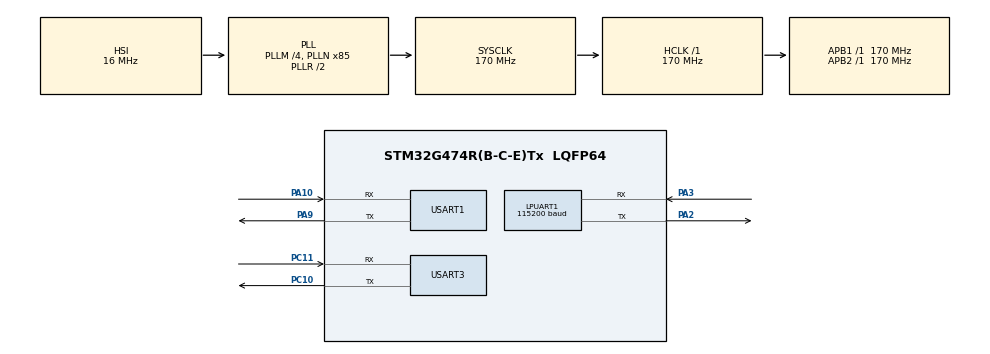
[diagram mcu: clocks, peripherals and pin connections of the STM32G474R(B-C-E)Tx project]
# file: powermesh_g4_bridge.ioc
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Dma.Request0=USART1_RX
Dma.Request1=USART1_TX
Dma.Request2=USART3_RX
Dma.Request3=USART3_TX
Dma.USART1_RX.0.Direction=DMA_PERIPH_TO_MEMORY
Dma.USART1_RX.0.EventEnable=DISABLE
Dma.USART1_RX.0.Instance=DMA1_Channel1
Dma.USART1_RX.0.MemDataAlignment=DMA_MDATAALIGN_BYTE
Dma.USART1_RX.0.MemInc=DMA_MINC_ENABLE
Dma.USART1_RX.0.Mode=DMA_CIRCULAR
Dma.USART1_RX.0.PeriphDataAlignment=DMA_PDATAALIGN_BYTE
Dma.USART1_RX.0.PeriphInc=DMA_PINC_DISABLE
Dma.USART1_RX.0.Polarity=HAL_DMAMUX_REQ_GEN_RISING
Dma.USART1_RX.0.Priority=DMA_PRIORITY_HIGH
Dma.USART1_RX.0.RequestNumber=1
Dma.USART1_RX.0.SignalID=NONE
Dma.USART1_RX.0.SyncEnable=DISABLE
Dma.USART1_RX.0.SyncPolarity=HAL_DMAMUX_SYNC_NO_EVENT
Dma.USART1_RX.0.SyncRequestNumber=1
Dma.USART1_RX.0.SyncSignalID=NONE
Dma.USART1_TX.1.Direction=DMA_MEMORY_TO_PERIPH
Dma.USART1_TX.1.EventEnable=DISABLE
Dma.USART1_TX.1.Instance=DMA1_Channel2
Dma.USART1_TX.1.MemDataAlignment=DMA_MDATAALIGN_BYTE
Dma.USART1_TX.1.MemInc=DMA_MINC_ENABLE
Dma.USART1_TX.1.Mode=DMA_NORMAL
Dma.USART1_TX.1.PeriphDataAlignment=DMA_PDATAALIGN_BYTE
Dma.USART1_TX.1.PeriphInc=DMA_PINC_DISABLE
Dma.USART1_TX.1.Polarity=HAL_DMAMUX_REQ_GEN_RISING
Dma.USART1_TX.1.Priority=DMA_PRIORITY_MEDIUM
Dma.USART1_TX.1.RequestNumber=1
Dma.USART1_TX.1.SignalID=NONE
Dma.USART1_TX.1.SyncEnable=DISABLE
Dma.USART1_TX.1.SyncPolarity=HAL_DMAMUX_SYNC_NO_EVENT
Dma.USART1_TX.1.SyncRequestNumber=1
Dma.USART1_TX.1.SyncSignalID=NONE
Dma.USART3_RX.2.Direction=DMA_PERIPH_TO_MEMORY
Dma.USART3_RX.2.EventEnable=DISABLE
Dma.USART3_RX.2.Instance=DMA1_Channel3
Dma.USART3_RX.2.MemDataAlignment=DMA_MDATAALIGN_BYTE
Dma.USART3_RX.2.MemInc=DMA_MINC_ENABLE
Dma.USART3_RX.2.Mode=DMA_CIRCULAR
Dma.USART3_RX.2.PeriphDataAlignment=DMA_PDATAALIGN_BYTE
Dma.USART3_RX.2.PeriphInc=DMA_PINC_DISABLE
Dma.USART3_RX.2.Polarity=HAL_DMAMUX_REQ_GEN_RISING
Dma.USART3_RX.2.Priority=DMA_PRIORITY_HIGH
Dma.USART3_RX.2.RequestNumber=1
Dma.USART3_RX.2.SignalID=NONE
Dma.USART3_RX.2.SyncEnable=DISABLE
Dma.USART3_RX.2.SyncPolarity=HAL_DMAMUX_SYNC_NO_EVENT
Dma.USART3_RX.2.SyncRequestNumber=1
Dma.USART3_RX.2.SyncSignalID=NONE
Dma.USART3_TX.3.Direction=DMA_MEMORY_TO_PERIPH
Dma.USART3_TX.3.EventEnable=DISABLE
Dma.USART3_TX.3.Instance=DMA1_Channel4
Dma.USART3_TX.3.MemDataAlignment=DMA_MDATAALIGN_BYTE
Dma.USART3_TX.3.MemInc=DMA_MINC_ENABLE
Dma.USART3_TX.3.Mode=DMA_NORMAL
Dma.USART3_TX.3.PeriphDataAlignment=DMA_PDATAALIGN_BYTE
Dma.USART3_TX.3.PeriphInc=DMA_PINC_DISABLE
Dma.USART3_TX.3.Polarity=HAL_DMAMUX_REQ_GEN_RISING
Dma.USART3_TX.3.Priority=DMA_PRIORITY_MEDIUM
Dma.USART3_TX.3.RequestNumber=1
Dma.USART3_TX.3.SignalID=NONE
Dma.USART3_TX.3.SyncEnable=DISABLE
Dma.USART3_TX.3.SyncPolarity=HAL_DMAMUX_SYNC_NO_EVENT
Dma.USART3_TX.3.SyncRequestNumber=1
Dma.USART3_TX.3.SyncSignalID=NONE
LPUART1.BaudRate=115200
Mcu.Family=STM32G4
Mcu.Name=STM32G474R(B-C-E)Tx
Mcu.Package=LQFP64
NUCLEO-G474RE.BUTTON=1
NUCLEO-G474RE.LD2=true
NUCLEO-G474RE.VCP=false
NVIC.DMA1_Channel1_IRQn=true\:5\:0\:true\:false\:true\:false\:true\:true
NVIC.DMA1_Channel2_IRQn=true\:5\:0\:true\:false\:true\:false\:true\:true
NVIC.DMA1_Channel3_IRQn=true\:5\:0\:true\:false\:true\:false\:true\:true
NVIC.DMA1_Channel4_IRQn=true\:5\:0\:true\:false\:true\:false\:true\:true
NVIC.EXTI15_10_IRQn=true\:0\:0\:false\:false\:true\:false\:true\:true
NVIC.PriorityGroup=NVIC_PRIORITYGROUP_4
NVIC.USART1_IRQn=true\:5\:0\:true\:false\:true\:true\:true\:true
NVIC.USART3_IRQn=true\:5\:0\:true\:false\:true\:true\:true\:true
PA10.Mode=Asynchronous
PA10.Signal=USART1_RX
PA13.GPIO_Label=T_SWDIO
PA13.Mode=Serial_Wire
PA13.Signal=SYS_JTMS-SWDIO
PA14.GPIO_Label=T_SWCLK
PA14.Mode=Serial_Wire
PA14.Signal=SYS_JTCK-SWCLK
PA2.Mode=Asynchronous
PA2.Signal=LPUART1_TX
PA3.Mode=Asynchronous
PA3.Signal=LPUART1_RX
PA9.Mode=Asynchronous
PA9.Signal=USART1_TX
PB3.GPIO_Label=T_SWO
PB3.Signal=SYS_JTDO-SWO
PC10.Mode=Asynchronous
PC10.Signal=USART3_TX
PC11.Mode=Asynchronous
PC11.Signal=USART3_RX
PC14-OSC32_IN.GPIO_Label=RCC_OSC32_IN
PC14-OSC32_IN.Signal=RCC_OSC32_IN
PC15-OSC32_OUT.GPIO_Label=RCC_OSC32_OUT
PC15-OSC32_OUT.Signal=RCC_OSC32_OUT
PF0-OSC_IN.GPIO_Label=RCC_OSC_IN
PF0-OSC_IN.Signal=RCC_OSC_IN
PF1-OSC_OUT.GPIO_Label=RCC_OSC_OUT
PF1-OSC_OUT.Signal=RCC_OSC_OUT
ProjectManager.HeapSize=0x200
ProjectManager.StackSize=0x400
ProjectManager.TargetToolchain=CMake
RCC.ADC12Freq_Value=170000000
RCC.ADC345Freq_Value=170000000
RCC.AHBFreq_Value=170000000
RCC.APB1Freq_Value=170000000
RCC.APB1TimFreq_Value=170000000
RCC.APB2Freq_Value=170000000
RCC.APB2TimFreq_Value=170000000
RCC.CortexFreq_Value=170000000
RCC.EXTERNAL_CLOCK_VALUE=12288000
RCC.HCLKFreq_Value=170000000
RCC.HSE_VALUE=24000000
RCC.HSI48_VALUE=48000000
RCC.HSI_VALUE=16000000
RCC.LSE_VALUE=32768
RCC.PLLM=RCC_PLLM_DIV4
RCC.PLLN=85
RCC.RTCClockSelection=RCC_RTCCLKSOURCE_LSE
RCC.SYSCLKFreq_VALUE=170000000
RCC.SYSCLKSource=RCC_SYSCLKSOURCE_PLLCLK
RCC.USBFreq_Value=170000000
RCC.VCOOutputFreq_Value=340000000
USART1.VirtualMode-Asynchronous=VM_ASYNC
USART3.VirtualMode-Asynchronous=VM_ASYNC
VP_NUCLEO-G474RE_VS_BSP_COMMON.Mode=COMMON
VP_SYS_VS_DBSignals.Mode=DisableDeadBatterySignals
board=NUCLEO-G474RE

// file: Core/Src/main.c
/* USER CODE BEGIN Header */
/**
  ******************************************************************************
  * @file           : main.c
  * @brief          : Main program body
  ******************************************************************************
  * @attention
  *
  * Copyright (c) 2026 STMicroelectronics.
  * All rights reserved.
  *
  * This software is licensed under terms that can be found in the LICENSE file
  * in the root directory of this software component.
  * If no LICENSE file comes with this software, it is provided AS-IS.
  *
  ******************************************************************************
  */
/* USER CODE END Header */
#include "main.h"

/* USER CODE BEGIN Includes */
#include "powermesh_board.h"
#include "uart_transport.h"
#include "packet_router.h"
/* USER CODE END Includes */

UART_HandleTypeDef hlpuart1;
UART_HandleTypeDef huart1;
UART_HandleTypeDef huart3;
DMA_HandleTypeDef hdma_usart1_rx;
DMA_HandleTypeDef hdma_usart1_tx;
DMA_HandleTypeDef hdma_usart3_rx;
DMA_HandleTypeDef hdma_usart3_tx;

/* USER CODE BEGIN PV */
static uart_transport_t link_transport;
static uart_transport_t esp32_transport;
static packet_router_t router;

static packet_port_t link_port = PACKET_PORT_GATEWAY;
static packet_port_t esp32_port = PACKET_PORT_REMOTE;

static uint32_t last_blink_ms = 0U;
/* USER CODE END PV */

void SystemClock_Config(void);
static void MX_GPIO_Init(void);
static void MX_DMA_Init(void);
static void MX_USART1_UART_Init(void);
static void MX_USART3_UART_Init(void);
static void MX_LPUART1_UART_Init(void);

/* USER CODE BEGIN 0 */

// Adapt the shared router interface to the G4 HAL UART transport.
static bool send_uart_frame(
    void *context,
    uint8_t type,
    uint16_t sequence,
    const uint8_t *payload,
    uint16_t length
)
{
    uart_transport_t *transport = (uart_transport_t *)context;

    return uart_transport_send(
        transport,
        type,
        sequence,
        payload,
        length
    ) == HAL_OK;
}

// Receive complete, CRC-validated frames from either UART.
static void on_uart_frame(const uart_frame_t *frame, void *context)
{
    if (frame == NULL || context == NULL)
    {
        return;
    }

    packet_port_t source = *(packet_port_t *)context;

    (void)packet_router_receive(
        &router,
        source,
        frame
    );
}
/* USER CODE END 0 */

int main(void)
{

  /* MCU Configuration--------------------------------------------------------*/

  /* Reset of all peripherals, Initializes the Flash interface and the Systick. */
  HAL_Init();

  /* Configure the system clock */
  SystemClock_Config();

  /* Initialize all configured peripherals */
  MX_GPIO_Init();
  MX_DMA_Init();
  MX_USART1_UART_Init();
  MX_USART3_UART_Init();
  MX_LPUART1_UART_Init();
  /* USER CODE BEGIN 2 */

  // Confirm DMA is configured for both UARTs.
  if (POWERMESH_LINK_UART->hdmarx == NULL ||
      POWERMESH_LINK_UART->hdmatx == NULL ||
      POWERMESH_ESP32_UART->hdmarx == NULL ||
      POWERMESH_ESP32_UART->hdmatx == NULL)
  {
      Error_Handler();
  }

  // Connect the shared router to the two G4 UART transports.
  if (!packet_router_init(
          &router,
          send_uart_frame,
          &link_transport,
          send_uart_frame,
          &esp32_transport))
  {
      Error_Handler();
  }

  // Start F4 link reception on USART3.
  if (uart_transport_start(
          &link_transport,
          POWERMESH_LINK_UART,
          on_uart_frame,
          &link_port) != HAL_OK)
  {
      Error_Handler();
  }

  // Start ESP32 reception on USART1.
  if (uart_transport_start(
          &esp32_transport,
          POWERMESH_ESP32_UART,
          on_uart_frame,
          &esp32_port) != HAL_OK)
  {
      Error_Handler();
  }

  // Report successful initialization over ST-LINK.
  static uint8_t boot_message[] = "PowerMesh G4 ready\r\n";

  (void)HAL_UART_Transmit(
      POWERMESH_DEBUG_UART,
      boot_message,
      sizeof(boot_message) - 1U,
      100U
  );

  /* USER CODE END 2 */

  /* Initialize led */
  BSP_LED_Init(LED_GREEN);

  /* Initialize USER push-button, will be used to trigger an interrupt each time it's pressed.*/
  BSP_PB_Init(BUTTON_USER, BUTTON_MODE_EXTI);

  /* Infinite loop */
  while (1)
  {

    /* USER CODE BEGIN 3 */

    uart_transport_poll(&link_transport);
    uart_transport_poll(&esp32_transport);

    packet_router_poll(&router);

    // Toggle the status LED every 500 ms.
    uint32_t now = HAL_GetTick();

    if ((uint32_t)(now - last_blink_ms) >= 500U)
    {
        last_blink_ms = now;
        (void)BSP_LED_Toggle(LED_GREEN);
    }
  }
  /* USER CODE END 3 */
}

void SystemClock_Config(void)
{
  RCC_OscInitTypeDef RCC_OscInitStruct = {0};
  RCC_ClkInitTypeDef RCC_ClkInitStruct = {0};

  /** Configure the main internal regulator output voltage
  */
  HAL_PWREx_ControlVoltageScaling(PWR_REGULATOR_VOLTAGE_SCALE1_BOOST);

  /** Initializes the RCC Oscillators according to the specified parameters
  * in the RCC_OscInitTypeDef structure.
  */
  RCC_OscInitStruct.OscillatorType = RCC_OSCILLATORTYPE_HSI;
  RCC_OscInitStruct.HSIState = RCC_HSI_ON;
  RCC_OscInitStruct.HSICalibrationValue = RCC_HSICALIBRATION_DEFAULT;
  RCC_OscInitStruct.PLL.PLLState = RCC_PLL_ON;
  RCC_OscInitStruct.PLL.PLLSource = RCC_PLLSOURCE_HSI;
  RCC_OscInitStruct.PLL.PLLM = RCC_PLLM_DIV4;
  RCC_OscInitStruct.PLL.PLLN = 85;
  RCC_OscInitStruct.PLL.PLLP = RCC_PLLP_DIV2;
  RCC_OscInitStruct.PLL.PLLQ = RCC_PLLQ_DIV2;
  RCC_OscInitStruct.PLL.PLLR = RCC_PLLR_DIV2;
  if (HAL_RCC_OscConfig(&RCC_OscInitStruct) != HAL_OK)
  {
    Error_Handler();
  }

  /** Initializes the CPU, AHB and APB buses clocks
  */
  RCC_ClkInitStruct.ClockType = RCC_CLOCKTYPE_HCLK|RCC_CLOCKTYPE_SYSCLK
                              |RCC_CLOCKTYPE_PCLK1|RCC_CLOCKTYPE_PCLK2;
  RCC_ClkInitStruct.SYSCLKSource = RCC_SYSCLKSOURCE_PLLCLK;
  RCC_ClkInitStruct.AHBCLKDivider = RCC_SYSCLK_DIV1;
  RCC_ClkInitStruct.APB1CLKDivider = RCC_HCLK_DIV1;
  RCC_ClkInitStruct.APB2CLKDivider = RCC_HCLK_DIV1;

  if (HAL_RCC_ClockConfig(&RCC_ClkInitStruct, FLASH_LATENCY_4) != HAL_OK)
  {
    Error_Handler();
  }
}

static void MX_LPUART1_UART_Init(void)
{

  hlpuart1.Instance = LPUART1;
  hlpuart1.Init.BaudRate = 115200;
  hlpuart1.Init.WordLength = UART_WORDLENGTH_8B;
  hlpuart1.Init.StopBits = UART_STOPBITS_1;
  hlpuart1.Init.Parity = UART_PARITY_NONE;
  hlpuart1.Init.Mode = UART_MODE_TX_RX;
  hlpuart1.Init.HwFlowCtl = UART_HWCONTROL_NONE;
  hlpuart1.Init.OneBitSampling = UART_ONE_BIT_SAMPLE_DISABLE;
  hlpuart1.Init.ClockPrescaler = UART_PRESCALER_DIV1;
  hlpuart1.AdvancedInit.AdvFeatureInit = UART_ADVFEATURE_NO_INIT;
  if (HAL_UART_Init(&hlpuart1) != HAL_OK)
  {
    Error_Handler();
  }
  if (HAL_UARTEx_SetTxFifoThreshold(&hlpuart1, UART_TXFIFO_THRESHOLD_1_8) != HAL_OK)
  {
    Error_Handler();
  }
  if (HAL_UARTEx_SetRxFifoThreshold(&hlpuart1, UART_RXFIFO_THRESHOLD_1_8) != HAL_OK)
  {
    Error_Handler();
  }
  if (HAL_UARTEx_DisableFifoMode(&hlpuart1) != HAL_OK)
  {
    Error_Handler();
  }

}

static void MX_USART1_UART_Init(void)
{

  huart1.Instance = USART1;
  huart1.Init.BaudRate = 115200;
  huart1.Init.WordLength = UART_WORDLENGTH_8B;
  huart1.Init.StopBits = UART_STOPBITS_1;
  huart1.Init.Parity = UART_PARITY_NONE;
  huart1.Init.Mode = UART_MODE_TX_RX;
  huart1.Init.HwFlowCtl = UART_HWCONTROL_NONE;
  huart1.Init.OverSampling = UART_OVERSAMPLING_16;
  huart1.Init.OneBitSampling = UART_ONE_BIT_SAMPLE_DISABLE;
  huart1.Init.ClockPrescaler = UART_PRESCALER_DIV1;
  huart1.AdvancedInit.AdvFeatureInit = UART_ADVFEATURE_NO_INIT;
  if (HAL_UART_Init(&huart1) != HAL_OK)
  {
    Error_Handler();
  }
  if (HAL_UARTEx_SetTxFifoThreshold(&huart1, UART_TXFIFO_THRESHOLD_1_8) != HAL_OK)
  {
    Error_Handler();
  }
  if (HAL_UARTEx_SetRxFifoThreshold(&huart1, UART_RXFIFO_THRESHOLD_1_8) != HAL_OK)
  {
    Error_Handler();
  }
  if (HAL_UARTEx_DisableFifoMode(&huart1) != HAL_OK)
  {
    Error_Handler();
  }

}

static void MX_USART3_UART_Init(void)
{

  huart3.Instance = USART3;
  huart3.Init.BaudRate = 115200;
  huart3.Init.WordLength = UART_WORDLENGTH_8B;
  huart3.Init.StopBits = UART_STOPBITS_1;
  huart3.Init.Parity = UART_PARITY_NONE;
  huart3.Init.Mode = UART_MODE_TX_RX;
  huart3.Init.HwFlowCtl = UART_HWCONTROL_NONE;
  huart3.Init.OverSampling = UART_OVERSAMPLING_16;
  huart3.Init.OneBitSampling = UART_ONE_BIT_SAMPLE_DISABLE;
  huart3.Init.ClockPrescaler = UART_PRESCALER_DIV1;
  huart3.AdvancedInit.AdvFeatureInit = UART_ADVFEATURE_NO_INIT;
  if (HAL_UART_Init(&huart3) != HAL_OK)
  {
    Error_Handler();
  }
  if (HAL_UARTEx_SetTxFifoThreshold(&huart3, UART_TXFIFO_THRESHOLD_1_8) != HAL_OK)
  {
    Error_Handler();
  }
  if (HAL_UARTEx_SetRxFifoThreshold(&huart3, UART_RXFIFO_THRESHOLD_1_8) != HAL_OK)
  {
    Error_Handler();
  }
  if (HAL_UARTEx_DisableFifoMode(&huart3) != HAL_OK)
  {
    Error_Handler();
  }

}

static void MX_DMA_Init(void)
{

  /* DMA controller clock enable */
  __HAL_RCC_DMAMUX1_CLK_ENABLE();
  __HAL_RCC_DMA1_CLK_ENABLE();

  /* DMA interrupt init */
  /* DMA1_Channel1_IRQn interrupt configuration */
  HAL_NVIC_SetPriority(DMA1_Channel1_IRQn, 5, 0);
  HAL_NVIC_EnableIRQ(DMA1_Channel1_IRQn);
  /* DMA1_Channel2_IRQn interrupt configuration */
  HAL_NVIC_SetPriority(DMA1_Channel2_IRQn, 5, 0);
  HAL_NVIC_EnableIRQ(DMA1_Channel2_IRQn);
  /* DMA1_Channel3_IRQn interrupt configuration */
  HAL_NVIC_SetPriority(DMA1_Channel3_IRQn, 5, 0);
  HAL_NVIC_EnableIRQ(DMA1_Channel3_IRQn);
  /* DMA1_Channel4_IRQn interrupt configuration */
  HAL_NVIC_SetPriority(DMA1_Channel4_IRQn, 5, 0);
  HAL_NVIC_EnableIRQ(DMA1_Channel4_IRQn);

}

static void MX_GPIO_Init(void)
{

  /* GPIO Ports Clock Enable */
  __HAL_RCC_GPIOC_CLK_ENABLE();
  __HAL_RCC_GPIOF_CLK_ENABLE();
  __HAL_RCC_GPIOA_CLK_ENABLE();
  __HAL_RCC_GPIOB_CLK_ENABLE();

}

void Error_Handler(void)
{
  __disable_irq();
  while (1)
  {
  }
}
